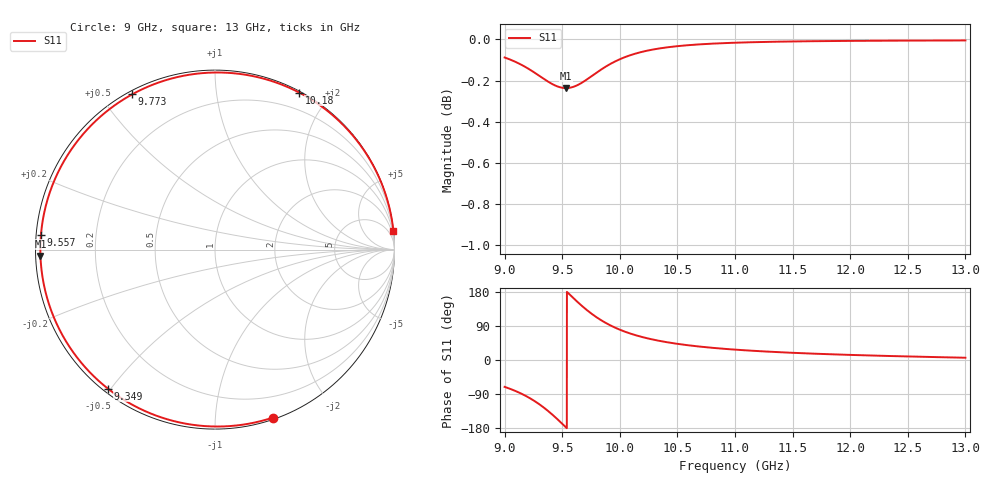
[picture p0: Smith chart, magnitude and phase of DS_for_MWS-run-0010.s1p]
! TOUCHSTONE file generated by CST DESIGN STUDIO
! Date and time: Tue Feb  4 12:31:15 2025
! Project name: C:\Work\MatlabApps\UnitCellOptimizationMatlab\CST\unitcell.cst
! Tree item: Tasks\Sweep1\SPara1\S-Parameters
! Header version: 2024
! Port assignment regex: !\s*Touchstone port\s*([0-9]+)\s*=\s*(CST MWS port|CST DES external port|CST DES block port)\s*(.+)\s* \(\"(.*)\"\)(\s*mode\s*([0-9]+))?.*
! Touchstone port assignment:
! Touchstone port 1 = CST DES external port 1 ("")
# GHz S MA R 50
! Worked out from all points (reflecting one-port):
!   4001 points, 9 GHz to 13 GHz, reference 50 ohm
!   lowest |S11| = -0.2 dB at 9.533 GHz (marker M1), VSWR 73.41, Z = 0.681 - j0.927 ohm
!   phase of S11 starts at -71 deg and turns -283 deg over the sweep
!   S11 on the Smith chart (normalised r, x): 9 GHz: 0.02, -1.40; 9.349 GHz: 0.01, -0.49; 9.557 GHz: 0.01, +0.04; 9.773 GHz: 0.01, +0.60; 10.18 GHz: 0.01, +1.67; 13 GHz: 0, +19
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9  0.9899 -70.9
9.098  0.9874 -82.3
9.206  0.9837 -98.4
9.281  0.9807 -112.5
9.349  0.9778 -127.6
9.421  0.9751 -145.9
9.462  0.9739 -157.3
9.5  0.9733 -168.2
9.533  0.9731 -177.9
9.557  0.9732 175.1
9.611  0.9741 159.4
9.671  0.9761 142.8
9.722  0.9782 129.9
9.773  0.9804 118.1
9.821  0.9826 108.2
9.873  0.9847 98.7
9.932  0.9868 89.3
10  0.989 80.0
10.086  0.9911 70.3
10.18  0.9929 61.8
10.326  0.9948 51.5
10.5  0.9962 42.6
10.721  0.9973 34.5
11  0.9981 27.4
11.5  0.9989 19.0
12  0.9992 13.5
12.5  0.9993 9.3
13  0.9994 6.0
